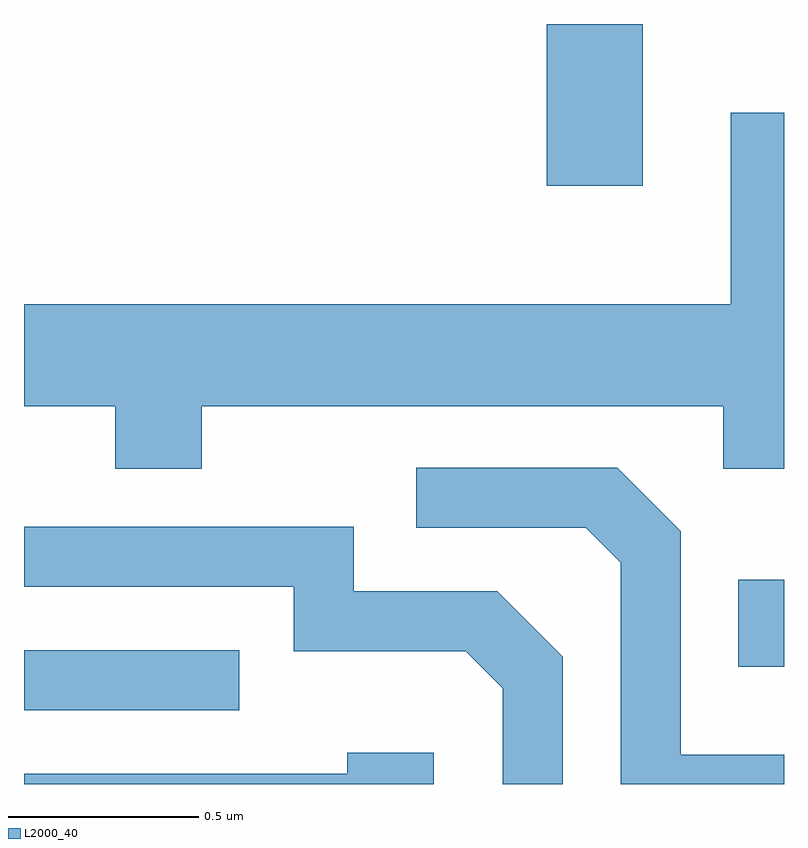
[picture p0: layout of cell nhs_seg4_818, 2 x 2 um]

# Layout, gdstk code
import gdstk
lib = gdstk.Library(unit=1e-6, precision=1e-09)
def R(c, l, rs):  # rectangles x0, y0, x1, y1
    for r in rs: c.add(gdstk.rectangle(r[:2], r[2:], *l))
def P(c, l, *ps):  # polygons
    for p in ps: c.add(gdstk.Polygon(p, *l))
L2000_40 = (2000, 40)

nhs_seg4_818 = lib.new_cell('nhs_seg4_818')
R(nhs_seg4_818, L2000_40, [(190.611,1387.176,191.178,1387.334), (192.491,1387.291,192.611,1387.519), (191.986,1388.556,192.239,1388.982)])
P(nhs_seg4_818, L2000_40, [(191.079,1387.976),(192.451,1387.976),(192.451,1387.811),(192.611,1387.811),(192.611,1388.749),(192.471,1388.749),(192.471,1388.244),(190.611,1388.244),(190.611,1387.976),(190.851,1387.976),(190.851,1387.811),(191.079,1387.811)],
  [(192.611,1387.059),(192.339,1387.059),(192.339,1387.647),(192.172,1387.814),(191.643,1387.814),(191.643,1387.656),(192.089,1387.656),(192.181,1387.564),(192.181,1386.982),(192.611,1386.982)],
  [(192.029,1387.317),(191.857,1387.489),(191.479,1387.489),(191.479,1387.659),(190.611,1387.659),(190.611,1387.501),(191.321,1387.501),(191.321,1387.331),(191.774,1387.331),(191.871,1387.234),(191.871,1386.982),(192.029,1386.982)],
  [(191.689,1387.064),(191.461,1387.064),(191.461,1387.009),(190.611,1387.009),(190.611,1386.982),(191.689,1386.982)])

lib.write_gds('nhs_seg4_818.gds')
